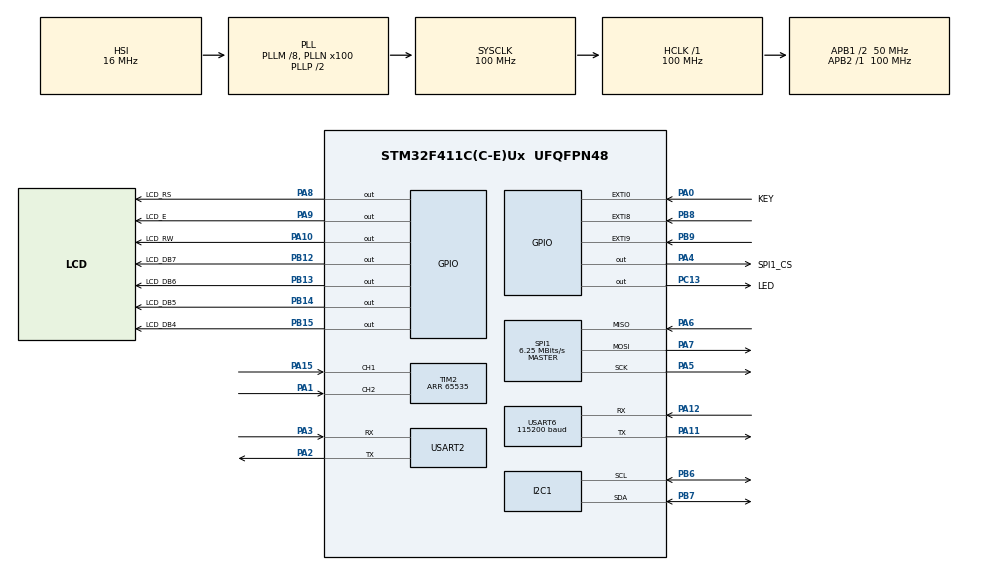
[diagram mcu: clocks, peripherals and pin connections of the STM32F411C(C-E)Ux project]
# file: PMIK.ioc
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Mcu.Family=STM32F4
Mcu.Name=STM32F411C(C-E)Ux
Mcu.Package=UFQFPN48
NVIC.EXTI0_IRQn=true\:0\:0\:false\:false\:true\:true\:true\:true
NVIC.EXTI9_5_IRQn=true\:0\:0\:false\:false\:true\:true\:true\:true
NVIC.I2C1_ER_IRQn=true\:0\:0\:false\:false\:true\:true\:true\:true
NVIC.I2C1_EV_IRQn=true\:0\:0\:false\:false\:true\:true\:true\:true
NVIC.PriorityGroup=NVIC_PRIORITYGROUP_4
NVIC.SPI1_IRQn=true\:0\:0\:false\:false\:true\:true\:true\:true
PA0-WKUP.GPIO_Label=KEY
PA0-WKUP.GPIO_PuPd=GPIO_PULLUP
PA0-WKUP.Signal=GPXTI0
PA1.Signal=S_TIM2_CH2
PA10.GPIO_Label=LCD_RW
PA10.Signal=GPIO_Output
PA11.Mode=Asynchronous
PA11.Signal=USART6_TX
PA12.Mode=Asynchronous
PA12.Signal=USART6_RX
PA15.Signal=S_TIM2_CH1_ETR
PA2.Mode=Asynchronous
PA2.Signal=USART2_TX
PA3.Mode=Asynchronous
PA3.Signal=USART2_RX
PA4.GPIO_Label=SPI1_CS
PA4.Signal=GPIO_Output
PA5.Mode=Full_Duplex_Master
PA5.Signal=SPI1_SCK
PA6.Mode=Full_Duplex_Master
PA6.Signal=SPI1_MISO
PA7.Mode=Full_Duplex_Master
PA7.Signal=SPI1_MOSI
PA8.GPIO_Label=LCD_RS
PA8.Signal=GPIO_Output
PA9.GPIO_Label=LCD_E
PA9.Signal=GPIO_Output
PB12.GPIO_Label=LCD_DB7
PB12.Signal=GPIO_Output
PB13.GPIO_Label=LCD_DB6
PB13.Signal=GPIO_Output
PB14.GPIO_Label=LCD_DB5
PB14.Signal=GPIO_Output
PB15.GPIO_Label=LCD_DB4
PB15.Signal=GPIO_Output
PB6.Mode=I2C
PB6.Signal=I2C1_SCL
PB7.Mode=I2C
PB7.Signal=I2C1_SDA
PB8.GPIO_PuPd=GPIO_PULLUP
PB8.Signal=GPXTI8
PB9.GPIO_PuPd=GPIO_PULLUP
PB9.Signal=GPXTI9
PC13-ANTI_TAMP.GPIO_Label=LED
PC13-ANTI_TAMP.Signal=GPIO_Output
PH0\ -\ OSC_IN.Mode=HSE-External-Oscillator
PH0\ -\ OSC_IN.Signal=RCC_OSC_IN
PH1\ -\ OSC_OUT.Mode=HSE-External-Oscillator
PH1\ -\ OSC_OUT.Signal=RCC_OSC_OUT
ProjectManager.HeapSize=0x200
ProjectManager.StackSize=0x400
ProjectManager.TargetToolchain=CMake
RCC.48MHZClocksFreq_Value=50000000
RCC.AHBFreq_Value=100000000
RCC.APB1CLKDivider=RCC_HCLK_DIV2
RCC.APB1Freq_Value=50000000
RCC.APB1TimFreq_Value=100000000
RCC.APB2Freq_Value=100000000
RCC.APB2TimFreq_Value=100000000
RCC.CortexFreq_Value=100000000
RCC.HCLKFreq_Value=100000000
RCC.HSE_VALUE=25000000
RCC.HSI_VALUE=16000000
RCC.LSE_VALUE=32768
RCC.PLLM=8
RCC.PLLN=100
RCC.SYSCLKFreq_VALUE=100000000
RCC.SYSCLKSource=RCC_SYSCLKSOURCE_PLLCLK
RCC.VCOOutputFreq_Value=200000000
SH.S_TIM2_CH1_ETR.0=TIM2_CH1,Encoder_Interface
SH.S_TIM2_CH2.0=TIM2_CH2,Encoder_Interface
SPI1.BaudRatePrescaler=SPI_BAUDRATEPRESCALER_16
SPI1.CalculateBaudRate=6.25 MBits/s
SPI1.Direction=SPI_DIRECTION_2LINES
SPI1.Mode=SPI_MODE_MASTER
SPI1.VirtualType=VM_MASTER
TIM2.AutoReloadPreload=TIM_AUTORELOAD_PRELOAD_ENABLE
TIM2.EncoderMode=TIM_ENCODERMODE_TI12
TIM2.IC1Filter=10
TIM2.IC2Filter=10
TIM2.Period=65535
TIM3.Prescaler=99
USART2.VirtualMode=VM_ASYNC
USART6.BaudRate=115200
USART6.VirtualMode=VM_ASYNC
VP_TIM3_VS_ClockSourceINT.Mode=Internal
board=custom

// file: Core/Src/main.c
/* USER CODE BEGIN Header */
/**
 *******************************************************************************
 * @file           : main.c
 * @brief          : Main program body
 *******************************************************************************
 * @attention
 *
 * Copyright (c) 2024 STMicroelectronics.
 * All rights reserved.
 *
 * This software is licensed under terms that can be found in the LICENSE file
 * in the root directory of this software component.
 * If no LICENSE file comes with this software, it is provided AS-IS.
 *
 *******************************************************************************
 * @author : Piotr Pokornowski
 * @version : 0.1
 * @date : 2024-09-13
 * @brief : Main program body
 */
/* USER CODE END Header */
#include "main.h"
#include "i2c.h"
#include "spi.h"
#include "tim.h"
#include "usart.h"
#include "gpio.h"

/* USER CODE BEGIN Includes */

#include <stdio.h>
#include <string.h>
#include "display.h"
#include "bmp280.h"
#include "printer.h"
#include "LCD_HD44780.h"
#include "delays.h"
#include "encoder.h"

#include "socket.h"
#include "httpServer.h"
#include "dhcp.h"

/* USER CODE END Includes */

/* USER CODE BEGIN PTD */

typedef void (*EXTI_Callback_t)(void);

/* USER CODE END PTD */

/* USER CODE BEGIN PD */

#define DEBUG_PRINT

#define MAX_EXTI_PINS 16
#define TASK_INTERVAL 60000 // [ms]

#define DHCP_SOCKET 0
#define DNS_SOCKET 1
#define HTTP_SOCKET 2
#define SOCK_TCPS 0
#define SOCK_UDPS 1
#define PORT_TCPS 5000
#define PORT_UDPS 3000
#define MAX_HTTPSOCK 6

/* USER CODE END PD */

/* USER CODE BEGIN PV */

BMP280_HandleTypedef bmp280;
PRINTER_HandleTypedef printer;

EXTI_Callback_t EXTI_Callbacks[MAX_EXTI_PINS] = {NULL};

void printData(void);

struct weatherData
{
  float temperature;
  float pressure;
  float humidity;
  // float dewPoint;
};

uint8_t value;

char buffer[64]; // UART
volatile uint32_t lastTaskTime = 0;

extern menu_t menu1, menu2, menu3, menu4, menu5;
extern menu_t submenu1_1, submenu1_2, submenu1_3, submenu1_4;
extern menu_t submenu3_1;

//{*name; *next; *prev; *child; *parent; (*menuFunction)(void)}
menu_t menu1 = {"Sensor data", &menu2, NULL, &submenu1_1, NULL, NULL};
menu_t submenu1_1 = {"Temperature", &submenu1_2, NULL, NULL, &menu1, NULL};
menu_t submenu1_2 = {"Pressure", &submenu1_3, &submenu1_1, NULL, &menu1, NULL};
menu_t submenu1_3 = {"Humidity", &submenu1_4, &submenu1_2, NULL, &menu1, NULL};
menu_t submenu1_4 = {"Dewpoint", NULL, &submenu1_3, NULL, &menu1, NULL};
menu_t menu2 = {"System settings", &menu3, &menu1, NULL, NULL, NULL};
menu_t menu3 = {"Actions", &menu4, &menu2, &submenu3_1, NULL, NULL};
menu_t submenu3_1 = {"Print", NULL, NULL, NULL, &menu3, printData};
menu_t menu4 = {"About", NULL, &menu3, NULL, NULL, NULL};

menu_t *currentMenu = &menu1;
uint8_t markerRow = 1;
volatile int16_t lastEncoderValue = 0;

uint8_t socknumlist[] = {2, 3, 4, 5, 6, 7};
uint8_t RX_BUF[1024];
uint8_t TX_BUF[1024];
wiz_NetInfo net_info = {
    .mac = {0xDE, 0xAD, 0xBE, 0xEF, 0xFE, 0xED},
    .dhcp = NETINFO_DHCP};
volatile bool ip_assigned = false;
uint8_t dhcp_buffer[1024];
uint8_t dns_buffer[1024];
char dynamic_page[2048];

uint8_t newData;
/* USER CODE END PV */

void SystemClock_Config(void);
/* USER CODE BEGIN PFP */
void Init_EXTI_Callbacks(void);

void wizchipSelect(void);
void wizchipUnselect(void);
void wizchipReadBurst(uint8_t *buff, uint16_t len);
void wizchipWriteBurst(uint8_t *buff, uint16_t len);
uint8_t wizchipReadByte(void);
void wizchipWriteByte(uint8_t byte);
void Callback_IPAssigned(void);
void Callback_IPConflict(void);
void W5500Init();
void generate_index_page(char *buffer, size_t bufferSize, struct weatherData *weather);
/* USER CODE END PFP */

/* USER CODE BEGIN 0 */

struct weatherData weather;

typedef void (*EXTI_Callback_t)(void);

/* USER CODE END 0 */

int main(void)
{

  /* MCU Configuration--------------------------------------------------------*/

  /* Reset of all peripherals, Initializes the Flash interface and the Systick. */
  HAL_Init();

  /* USER CODE BEGIN Init */
  Init_EXTI_Callbacks();
  /* USER CODE END Init */

  /* Configure the system clock */
  SystemClock_Config();

  /* Initialize all configured peripherals */
  MX_GPIO_Init();
  MX_USART2_UART_Init();
  MX_TIM3_Init();
  MX_USART6_UART_Init();
  MX_I2C1_Init();
  MX_SPI1_Init();
  MX_TIM2_Init();
  /* USER CODE BEGIN 2 */

  HAL_TIM_Base_Start(&htim3);
  HAL_TIM_Encoder_Start(&htim2, TIM_CHANNEL_ALL);
  __HAL_TIM_SET_COUNTER(&htim2, 0);

  HAL_SPI_Init(&hspi1);

  bmp280_init_default_params(&bmp280.params);
  bmp280.addr = BMP280_I2C_ADDRESS_0;
  bmp280.i2c = &hi2c1;

  while (!bmp280_init(&bmp280, &bmp280.params))
  {
    sprintf((char *)buffer, "BMP280 initialization failed\n");
    HAL_UART_Transmit(&huart2, (uint8_t *)buffer, strlen(buffer), 1000);
    HAL_Delay(2000);
  }

  printer.uart = &huart6;
  PRINTER_Init(&printer);

  LCD_Init();
  LCD_Cls();

  HAL_Delay(1000);
  bmp280_read_float(&bmp280, &weather.temperature, &weather.pressure, &weather.humidity);
  newData = 1;
  updateMenuTitles(&menu1, &weather);
  updateDisplay();

  W5500Init();
  httpServer_init(TX_BUF, RX_BUF, MAX_HTTPSOCK, socknumlist);
  reg_httpServer_cbfunc(NVIC_SystemReset, NULL);

  HAL_GPIO_WritePin(SPI1_CS_GPIO_Port, SPI1_CS_Pin, GPIO_PIN_RESET);
  /* USER CODE END 2 */

  /* Infinite loop */
  while (1)
  {

    /* USER CODE BEGIN 3 */
    if (newData)
    {
      updateMenuTitles(&menu1, &weather);
      generate_index_page(dynamic_page, sizeof(dynamic_page), &weather);
      reg_httpServer_webContent((uint8_t *)"index.html", (uint8_t *)dynamic_page);
      updateDisplay();
      newData = 0;
    }

    static menu_t *lastMenu = NULL;

    int16_t encoderValue = __HAL_TIM_GET_COUNTER(&htim2);
    if (encoderValue != lastEncoderValue)
    {
      if (encoderValue > lastEncoderValue)
      {
        if (currentMenu->next != NULL)
        {
          Encoder_Clockwise();
        }
      }
      else if (encoderValue < lastEncoderValue)
      {
        if (currentMenu->prev != NULL)
        {
          Encoder_CounterClockwise();
        }
      }

      lastEncoderValue = encoderValue;
    }

    if (currentMenu != lastMenu)
    {
      updateDisplay();
      lastMenu = currentMenu;
    }

    for (int i = 0; i < MAX_HTTPSOCK; i++)
      httpServer_run(i);
  }
  /* USER CODE END 3 */
}

void SystemClock_Config(void)
{
  RCC_OscInitTypeDef RCC_OscInitStruct = {0};
  RCC_ClkInitTypeDef RCC_ClkInitStruct = {0};

  /** Configure the main internal regulator output voltage
   */
  __HAL_RCC_PWR_CLK_ENABLE();
  __HAL_PWR_VOLTAGESCALING_CONFIG(PWR_REGULATOR_VOLTAGE_SCALE1);

  /** Initializes the RCC Oscillators according to the specified parameters
   * in the RCC_OscInitTypeDef structure.
   */
  RCC_OscInitStruct.OscillatorType = RCC_OSCILLATORTYPE_HSI;
  RCC_OscInitStruct.HSIState = RCC_HSI_ON;
  RCC_OscInitStruct.HSICalibrationValue = RCC_HSICALIBRATION_DEFAULT;
  RCC_OscInitStruct.PLL.PLLState = RCC_PLL_ON;
  RCC_OscInitStruct.PLL.PLLSource = RCC_PLLSOURCE_HSI;
  RCC_OscInitStruct.PLL.PLLM = 8;
  RCC_OscInitStruct.PLL.PLLN = 100;
  RCC_OscInitStruct.PLL.PLLP = RCC_PLLP_DIV2;
  RCC_OscInitStruct.PLL.PLLQ = 4;
  if (HAL_RCC_OscConfig(&RCC_OscInitStruct) != HAL_OK)
  {
    Error_Handler();
  }

  /** Initializes the CPU, AHB and APB buses clocks
   */
  RCC_ClkInitStruct.ClockType = RCC_CLOCKTYPE_HCLK | RCC_CLOCKTYPE_SYSCLK | RCC_CLOCKTYPE_PCLK1 | RCC_CLOCKTYPE_PCLK2;
  RCC_ClkInitStruct.SYSCLKSource = RCC_SYSCLKSOURCE_PLLCLK;
  RCC_ClkInitStruct.AHBCLKDivider = RCC_SYSCLK_DIV1;
  RCC_ClkInitStruct.APB1CLKDivider = RCC_HCLK_DIV2;
  RCC_ClkInitStruct.APB2CLKDivider = RCC_HCLK_DIV1;

  if (HAL_RCC_ClockConfig(&RCC_ClkInitStruct, FLASH_LATENCY_3) != HAL_OK)
  {
    Error_Handler();
  }
}

/* USER CODE BEGIN 4 */

void HAL_SYSTICK_Callback(void)
{
  uint32_t currentTime = HAL_GetTick();
  if (currentTime - lastTaskTime >= TASK_INTERVAL)
  {
    bmp280_read_float(&bmp280, &weather.temperature, &weather.pressure, &weather.humidity);
    newData = 1;
    lastTaskTime = currentTime;

#ifdef DEBUG_PRINT
    sprintf(buffer, "Temperature: %.2f C, Pressure: %.2f hPa, Humidity: %.2f\n", weather.temperature, weather.pressure, weather.humidity);
    HAL_UART_Transmit(&huart2, (uint8_t *)buffer, strlen(buffer), 100);
#endif
  }
}

void EXTI0_Callback(void)
{
  sprintf(buffer, "Temperature: %.2f C, Pressure: %.2f hPa, Humidity: %.2f\n", weather.temperature, weather.pressure, weather.humidity);
  PRINTER_Print(&printer, buffer);
}

void EXTI8_Callback(void)
{
  selectMenu();

#ifdef DEBUG_PRINT
  sprintf(buffer, "Selected menu: %s\n", currentMenu->name);
  HAL_UART_Transmit(&huart2, (uint8_t *)buffer, strlen(buffer), 100);
#endif
}

void EXTI9_Callback(void)
{
  navigateBack();

#ifdef DEBUG_PRINT
  sprintf(buffer, "Navigated back to: %s\n", currentMenu->name);
  HAL_UART_Transmit(&huart2, (uint8_t *)buffer, strlen(buffer), 100);
#endif
}

void HAL_GPIO_EXTI_Callback(uint16_t GPIO_Pin)
{
  uint8_t pin_index = __builtin_ctz(GPIO_Pin);
  if (pin_index < MAX_EXTI_PINS && EXTI_Callbacks[pin_index] != NULL)
  {
    EXTI_Callbacks[pin_index]();
  }

#ifdef DEBUG_PRINT
  sprintf(buffer, "Pin %d Interrupt\n", pin_index);
  HAL_UART_Transmit(&huart2, (uint8_t *)buffer, strlen(buffer), 100);
#endif
}

void Init_EXTI_Callbacks(void)
{
  EXTI_Callbacks[0] = EXTI0_Callback;
  EXTI_Callbacks[1] = NULL;
  EXTI_Callbacks[2] = NULL;
  EXTI_Callbacks[3] = NULL;
  EXTI_Callbacks[4] = NULL;
  EXTI_Callbacks[5] = NULL;
  EXTI_Callbacks[6] = NULL;
  EXTI_Callbacks[7] = NULL;
  EXTI_Callbacks[8] = EXTI8_Callback;
  EXTI_Callbacks[9] = EXTI9_Callback;
  EXTI_Callbacks[10] = NULL;
  EXTI_Callbacks[11] = NULL;
  EXTI_Callbacks[12] = NULL;
  EXTI_Callbacks[13] = NULL;
  EXTI_Callbacks[14] = NULL;
  EXTI_Callbacks[15] = NULL;
}

void printData(void)
{
  char buffer[64];
  sprintf(buffer, "Temperature: %.2f C\nPressure: %.2f hPa\nHumidity: %.2f %%\n", weather.temperature, weather.pressure, weather.humidity);

  PRINTER_Print(&printer, buffer);
}

void updateMenuTitles(menu_t *menu, struct weatherData *weather)
{
  static char titleBuffer[4][32];

  snprintf(titleBuffer[0], sizeof(titleBuffer[0]), "Temperature: %.2f C", weather->temperature);
  menu->child->name = titleBuffer[0];

  snprintf(titleBuffer[1], sizeof(titleBuffer[1]), "Pressure: %.2f hPa", weather->pressure);
  menu->child->next->name = titleBuffer[1];

  snprintf(titleBuffer[2], sizeof(titleBuffer[2]), "Humidity: %.2f %%", weather->humidity);
  menu->child->next->next->name = titleBuffer[2];

  snprintf(titleBuffer[3], sizeof(titleBuffer[3]), "Dewpoint: N/A");
  menu->child->next->next->next->name = titleBuffer[3];
}

void wizchipSelect(void)
{
  HAL_GPIO_WritePin(GPIOA, GPIO_PIN_4, GPIO_PIN_RESET);
}

void wizchipUnselect(void)
{
  HAL_GPIO_WritePin(GPIOA, GPIO_PIN_4, GPIO_PIN_SET);
}

void wizchipReadBurst(uint8_t *buff, uint16_t len)
{
  HAL_SPI_Receive(&hspi1, buff, len, HAL_MAX_DELAY);
}

void wizchipWriteBurst(uint8_t *buff, uint16_t len)
{
  HAL_SPI_Transmit(&hspi1, buff, len, HAL_MAX_DELAY);
}

uint8_t wizchipReadByte(void)
{
  uint8_t byte;
  wizchipReadBurst(&byte, sizeof(byte));
  return byte;
}

void wizchipWriteByte(uint8_t byte)
{
  wizchipWriteBurst(&byte, sizeof(byte));
}

void Callback_IPAssigned(void)
{
  ip_assigned = true;
}

void Callback_IPConflict(void)
{
  ip_assigned = false;
}

void W5500Init()
{
  reg_wizchip_cs_cbfunc(wizchipSelect, wizchipUnselect);
  reg_wizchip_spi_cbfunc(wizchipReadByte, wizchipWriteByte);
  reg_wizchip_spiburst_cbfunc(wizchipReadBurst, wizchipWriteBurst);

  uint8_t rx_tx_buff_sizes[] = {2, 2, 2, 2, 2, 2, 2, 2};
  wizchip_init(rx_tx_buff_sizes, rx_tx_buff_sizes);

  setSHAR(net_info.mac);
  DHCP_init(DHCP_SOCKET, dhcp_buffer);

  reg_dhcp_cbfunc(
      Callback_IPAssigned,
      Callback_IPAssigned,
      Callback_IPConflict);

  uint32_t ctr = 10000;
  while ((!ip_assigned) && (ctr > 0))
  {
    DHCP_run();
    ctr--;
  }
  if (!ip_assigned)
  {
    return;
  }

  getIPfromDHCP(net_info.ip);
  getGWfromDHCP(net_info.gw);
  getSNfromDHCP(net_info.sn);

  wizchip_setnetinfo(&net_info);
}

void generate_index_page(char *buffer, size_t bufferSize, struct weatherData *weather)
{
  snprintf(buffer, bufferSize,
           "<!DOCTYPE html>"
           "<html lang='en'>"
           "<head>"
           "<meta charset='UTF-8'>"
           "<meta name='viewport' content='width=device-width, initial-scale=1.0'>"
           "<meta http-equiv='refresh' content='10'>"
           "<link href=\"data:image/x-icon;base64,A\" rel=\"icon\" type=\"image/x-icon\">"
           "<title>STM32 Stacja Pogodowa</title>"
           "<style>"
           "body {"
           "  font-family: 'Roboto', sans-serif;"
           "  background-color: #f4f4f9;"
           "  color: #333;"
           "  margin: 0;"
           "  padding: 0;"
           "  display: flex;"
           "  flex-direction: column;"
           "  align-items: center;"
           "  justify-content: center;"
           "  min-height: 100vh;"
           "}"
           "h1 {"
           "  font-size: 1.8em;"
           "  color: #4CAF50;"
           "  margin-bottom: 20px;"
           "}"
           ".card {"
           "  background: #fff;"
           "  border-radius: 8px;"
           "  box-shadow: 0 4px 6px rgba(0, 0, 0, 0.1);"
           "  padding: 20px;"
           "  text-align: center;"
           "  width: 90%%;"
           "  max-width: 400px;"
           "}"
           ".data {"
           "  font-size: 1.2em;"
           "  margin: 10px 0;"
           "  color: #555;"
           "}"
           ".footer {"
           "  margin-top: 20px;"
           "  font-size: 0.9em;"
           "  color: #aaa;"
           "}"
           "</style>"
           "<link href='https://fonts.googleapis.com/css2?family=Roboto:wght@400;700&display=swap' rel='stylesheet'>"
           "</head>"
           "<body>"
           "<h1>STM32 Stacja Pogodowa</h1>"
           "<div class='card'>"
           "<p class='data'>Temperatura: %.2f °C</p>"
           "<p class='data'>Ciśnienie: %.2f hPa</p>"
           "<p class='data'>Wilgotność: %.2f %%</p>"
           "</div>"
           "<div class='footer'>Projekt na zaliczenie WSYW i PMIK.</div>"
           "<div class='footer'>Piotr Pokornowski 325061</div>"
           "</body>"
           "</html>",
           weather->temperature,
           weather->pressure,
           weather->humidity);
}

/* USER CODE END 4 */

void Error_Handler(void)
{
  __disable_irq();
  while (1)
  {
  }
}
